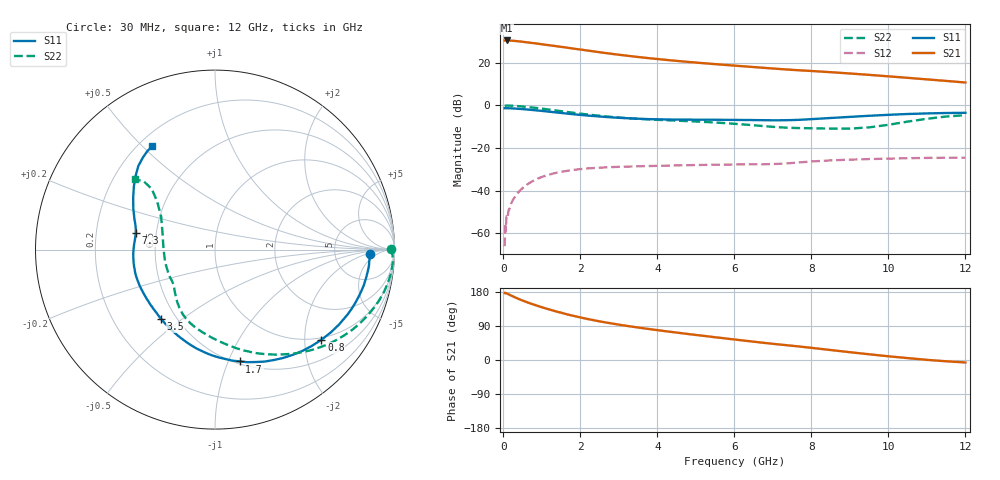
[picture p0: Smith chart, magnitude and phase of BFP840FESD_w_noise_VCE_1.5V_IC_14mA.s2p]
! Infineon Technologies  Discrete & RF Semiconductors
! BFP840FESD
! VCE =  1.5 V,  IC =  14 mA
! Common Emitter S-Parameters:  May 2012
# GHz  S  MA  R  50
!  f  S11  S21  S12  S22
! GHz  MAG  ANG  MAG  ANG  MAG  ANG  MAG  ANG
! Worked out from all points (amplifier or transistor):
!   103 points, 30 MHz to 12 GHz, reference 50 ohm
!   highest |S21| = 30.5 dB at 80 MHz (marker M1)
!   |S21| within 3 dB of that: start of sweep to 1.497 GHz
!   unconditionally stable (mu >= 1): 6.159 GHz to end of sweep
!   at 400 MHz: K = 0.11, MSG = 35.3 dB, |S12| = -40.4 dB
!   at 3.7 GHz: K = 0.63, MSG = 25.4 dB, |S12| = -28.4 dB
!   at 12 GHz: K = 1.14, MAG = 15.4 dB, |S12| = -24.5 dB
!   lowest NFmin = 0.76 dB at 450 MHz
!   S11 on the Smith chart (normalised r, x): 30 MHz: 13, -2; 800 MHz: 0.95, -2.40; 1.7 GHz: 0.52, -1.10; 3.5 GHz: 0.41, -0.42; 7.3 GHz: 0.38, +0.09; 12 GHz: 0.25, +0.54
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0.03  0.8634 -1.5  33.49 176.6  0.0005 96.0  0.9781 0.1
0.04  0.8639 -2.1  33.51 176.2  0.001 79.6  0.9838 -0.4
0.05  0.8627 -2.7  33.57 177.3  0.0017 62.4  0.9874 -1.0
0.08  0.8619 -4.4  33.58 175.9  0.0025 81.2  0.9905 -2.5
0.25  0.8526 -13.4  32.98 167.7  0.0062 83.8  0.9835 -10.0
0.45  0.8291 -23.6  31.62 158.8  0.0106 76.7  0.9546 -17.8
0.6  0.8078 -31.0  30.43 152.9  0.0137 71.9  0.9264 -23.3
0.8  0.7768 -40.3  28.93 145.8  0.0176 66.9  0.8863 -30.2
1.2  0.7134 -57.8  25.84 133.0  0.024 57.4  0.7994 -42.9
1.4  0.6828 -66.0  24.41 127.3  0.0267 53.3  0.7569 -48.7
1.7  0.638 -77.5  22.41 119.3  0.0298 47.8  0.6959 -57.0
2.1  0.5901 -91.4  19.96 110.0  0.0328 42.1  0.6283 -67.1
2.7  0.5342 -108.8  16.8 98.3  0.0355 35.5  0.5505 -79.7
3.1  0.5076 -118.8  15.14 91.6  0.0366 32.8  0.5144 -86.7
3.5  0.4897 -127.7  13.74 85.7  0.0375 31.0  0.4868 -93.0
4.1  0.4724 -139.9  12.06 77.5  0.0386 29.1  0.4569 -101.2
5  0.4649 -155.7  10.17 66.1  0.0401 27.6  0.4207 -111.8
6.1  0.4579 -172.4  8.49 52.9  0.0414 27.0  0.3666 -124.3
7.3  0.4512 168.4  7.055 39.6  0.0435 30.8  0.3032 -139.7
8.5  0.509 153.4  6.05 26.3  0.0515 30.0  0.2868 -165.5
10.5  0.6316 132.6  4.456 5.0  0.0579 24.2  0.4188 140.3
12  0.6739 121.2  3.462 -6.5  0.0595 22.6  0.5936 138.8
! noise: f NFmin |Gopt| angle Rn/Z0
0.45  0.76  0.22  4  0.12
0.9  0.78  0.22  11  0.14
1.5  0.8  0.2  17  0.14
1.9  0.8  0.18  27  0.14
2.4  0.81  0.17  37  0.14
3.5  0.81  0.17  61  0.14
5.5  0.86  0.1  123  0.12
8  0.96  0.11  -177  0.13
10  1.08  0.25  -124  0.14
12  1.29  0.41  -109  0.16
